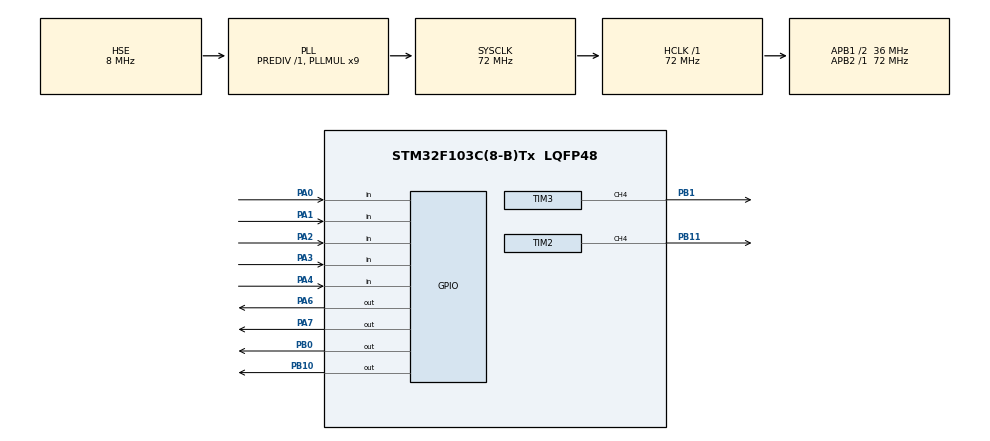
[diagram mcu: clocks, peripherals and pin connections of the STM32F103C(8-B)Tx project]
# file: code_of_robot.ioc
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Mcu.Family=STM32F1
Mcu.Name=STM32F103C(8-B)Tx
Mcu.Package=LQFP48
NVIC.PriorityGroup=NVIC_PRIORITYGROUP_4
PA0-WKUP.Signal=GPIO_Input
PA1.Signal=GPIO_Input
PA13.Mode=Serial_Wire
PA13.Signal=SYS_JTMS-SWDIO
PA14.Mode=Serial_Wire
PA14.Signal=SYS_JTCK-SWCLK
PA2.Signal=GPIO_Input
PA3.Signal=GPIO_Input
PA4.Signal=GPIO_Input
PA6.Signal=GPIO_Output
PA7.Signal=GPIO_Output
PB0.Signal=GPIO_Output
PB1.Signal=S_TIM3_CH4
PB10.Signal=GPIO_Output
PB11.Signal=S_TIM2_CH4
PD0-OSC_IN.Mode=HSE-External-Oscillator
PD0-OSC_IN.Signal=RCC_OSC_IN
PD1-OSC_OUT.Mode=HSE-External-Oscillator
PD1-OSC_OUT.Signal=RCC_OSC_OUT
ProjectManager.HeapSize=0x200
ProjectManager.StackSize=0x400
ProjectManager.TargetToolchain=STM32CubeIDE
RCC.AHBFreq_Value=72000000
RCC.APB1CLKDivider=RCC_HCLK_DIV2
RCC.APB1Freq_Value=36000000
RCC.APB1TimFreq_Value=72000000
RCC.APB2Freq_Value=72000000
RCC.APB2TimFreq_Value=72000000
RCC.HCLKFreq_Value=72000000
RCC.PLLMUL=RCC_PLL_MUL9
RCC.PLLSourceVirtual=RCC_PLLSOURCE_HSE
RCC.SYSCLKFreq_VALUE=72000000
RCC.SYSCLKSource=RCC_SYSCLKSOURCE_PLLCLK
RCC.USBFreq_Value=72000000
SH.S_TIM2_CH4.0=TIM2_CH4,PWM Generation4 CH4
SH.S_TIM3_CH4.0=TIM3_CH4,PWM Generation4 CH4
TIM2.AutoReloadPreload=TIM_AUTORELOAD_PRELOAD_ENABLE
TIM2.Channel-PWM\ Generation4\ CH4=TIM_CHANNEL_4
TIM2.Period=999
TIM2.Prescaler=79
TIM3.AutoReloadPreload=TIM_AUTORELOAD_PRELOAD_ENABLE
TIM3.Channel-PWM\ Generation4\ CH4=TIM_CHANNEL_4
TIM3.Period=999
TIM3.Prescaler=79
board=custom

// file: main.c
/* USER CODE BEGIN Header */
/**
  ******************************************************************************
  * @file           : main.c
  * @brief          : Main program body
  ******************************************************************************
  * @attention
  *
  * Copyright (c) 2022 STMicroelectronics.
  * All rights reserved.
  *
  * This software is licensed under terms that can be found in the LICENSE file
  * in the root directory of this software component.
  * If no LICENSE file comes with this software, it is provided AS-IS.
  *
  ******************************************************************************
  */
/* USER CODE END Header */
#include "main.h"

/* USER CODE BEGIN Includes */
#include "string.h"
/* USER CODE END Includes */

/* USER CODE BEGIN PTD */
#define max 50
#define e_max 1000
/* USER CODE END PTD */

 TIM_HandleTypeDef htim2;
TIM_HandleTypeDef htim3;

/* USER CODE BEGIN PV */
int  des_dev, cur_dev;                                //variables for error, set-point and process variable
int ARR =10;
float kp = 10 , ki = 0, kd = 4;                     //PID constants
/*float Kp = 5;                                       //set up the constants value
float Ki = 0.001;
float Kd = 0.5;
int P, I, D; */
int i, j, m, n, k;
int speed = 40;                                    //base speed for motor PWM
//int lastError = 0;
unsigned int sensor[5],h[5];                        // an array to hold sensor values
//const uint8_t basespeed = 40;
//const uint8_t maxspeed = 100;
//unsigned char found_left=0;
//unsigned char found_straight=0;
//unsigned char found_right=0;
int sensor_weight[] = {-4 , -2 , 0 , 2 , 4};
int error,Error;                                    //variables for error, set-point and process variable
int result;                       //variables for error, set-point and process variable
int c=0, maze_solved=0,temp=0, mode=0;
int e_sum=0, e_diff=0, e_old=0, pid_out;
char path[100];  //array for storing path data of dry run
int pathLength=0;
//char line_maze = "", solve_maze = ""; // Memory string

/* USER CODE END PV */

void SystemClock_Config(void);
static void MX_GPIO_Init(void);
static void MX_TIM2_Init(void);
static void MX_TIM3_Init(void);
/* USER CODE BEGIN PFP */
//int read_sensor();
//float PID_control(float err);
int readSensor();           //for taking sensor input
float err_calc();           //for calculating error value
float pid(float);           //returns PID correction output
void motorPIDcontrol(int base);
void Read_Path();
void Save_Path(char state);  //saves dry run data
void Make_Decession(char Incoming_Command);
float PID_control(float err);
/* USER CODE END PFP */

/* USER CODE BEGIN 0 */

/*-----------------------------------------------------------Forward-------------------------------------------------------*/
void Forward(double PWM_L,double PWM_R)
{
	__HAL_TIM_SET_COMPARE(&htim3, TIM_CHANNEL_4, ARR*PWM_L);     //Left
	HAL_GPIO_WritePin(GPIOB, GPIO_PIN_0, GPIO_PIN_RESET);
	HAL_GPIO_WritePin(GPIOB, GPIO_PIN_10, GPIO_PIN_SET);

	__HAL_TIM_SET_COMPARE(&htim2, TIM_CHANNEL_4, ARR*PWM_R);     //Right
	HAL_GPIO_WritePin(GPIOA, GPIO_PIN_6, GPIO_PIN_RESET);
	HAL_GPIO_WritePin(GPIOA, GPIO_PIN_7, GPIO_PIN_SET);

}
/*-----------------------------------------------------------Backward-------------------------------------------------------*/
void Backward(double PWM_L,double PWM_R)
{
	__HAL_TIM_SET_COMPARE(&htim3, TIM_CHANNEL_4, ARR*PWM_L);      //Left  A_EN
	HAL_GPIO_WritePin(GPIOB, GPIO_PIN_0, GPIO_PIN_SET);
	HAL_GPIO_WritePin(GPIOB, GPIO_PIN_10, GPIO_PIN_RESET);

	__HAL_TIM_SET_COMPARE(&htim2, TIM_CHANNEL_4, ARR*PWM_R);      //Right B_EN
	HAL_GPIO_WritePin(GPIOA, GPIO_PIN_6, GPIO_PIN_SET);
	HAL_GPIO_WritePin(GPIOA, GPIO_PIN_7, GPIO_PIN_RESET);
}
/*---------------------------------------------------------------stop--------------------------------------------------------------*/
void stop()
{
	__HAL_TIM_SET_COMPARE(&htim3, TIM_CHANNEL_4, 0); // A_EN
	HAL_GPIO_WritePin(GPIOB, GPIO_PIN_10 | GPIO_PIN_0, GPIO_PIN_RESET);

	__HAL_TIM_SET_COMPARE(&htim2, TIM_CHANNEL_4, 0); // B_EN
	HAL_GPIO_WritePin(GPIOA, GPIO_PIN_6 | GPIO_PIN_7, GPIO_PIN_RESET);
}
/*-------------------------------------------------------------------Turn_Right------------------------------------------------------------*/
void Turn_Left(double PWM_L,double PWM_R)
{
	__HAL_TIM_SET_COMPARE(&htim3, TIM_CHANNEL_4, ARR*PWM_L);      //Left  A_EN
	HAL_GPIO_WritePin(GPIOB, GPIO_PIN_0, GPIO_PIN_RESET);
	HAL_GPIO_WritePin(GPIOB, GPIO_PIN_10, GPIO_PIN_SET);

	__HAL_TIM_SET_COMPARE(&htim2, TIM_CHANNEL_4, ARR*PWM_R);      //Right B_EN
	HAL_GPIO_WritePin(GPIOA, GPIO_PIN_6, GPIO_PIN_SET);
	HAL_GPIO_WritePin(GPIOA, GPIO_PIN_7, GPIO_PIN_RESET);

}
/*-------------------------------------------------------------------Turn_Left----------------------------------------------------------*/
void Turn_Right(double PWM_L,double PWM_R)
{
	__HAL_TIM_SET_COMPARE(&htim3, TIM_CHANNEL_4, ARR*PWM_L);     //Left
	HAL_GPIO_WritePin(GPIOB, GPIO_PIN_0, GPIO_PIN_SET);
	HAL_GPIO_WritePin(GPIOB, GPIO_PIN_10, GPIO_PIN_RESET);

	__HAL_TIM_SET_COMPARE(&htim2, TIM_CHANNEL_4, ARR*PWM_R);     //Right
	HAL_GPIO_WritePin(GPIOA, GPIO_PIN_6, GPIO_PIN_RESET);
	HAL_GPIO_WritePin(GPIOA, GPIO_PIN_7, GPIO_PIN_SET);

}
/*-----------------------------------------------*******----**----runExtraInch--------------------------------------------------------*/
void runExtraInch() //running few steps for alignment and node identification
{
	Forward(40,40);          //OCR1A = 500;  	OCR1B = 500;
	HAL_Delay(150);         //_delay_ms(330);
	stop();
	HAL_Delay(800);
}
/*-------------------------------------------------------------------------------------------------------------*/
/* USER CODE END 0 */

int main(void)
{

  /* MCU Configuration--------------------------------------------------------*/

  /* Reset of all peripherals, Initializes the Flash interface and the Systick. */
  HAL_Init();

  /* Configure the system clock */
  SystemClock_Config();

  /* Initialize all configured peripherals */
  MX_GPIO_Init();
  MX_TIM2_Init();
  MX_TIM3_Init();
  /* USER CODE BEGIN 2 */
  HAL_TIM_Base_Start(&htim3);
  HAL_TIM_Base_Start(&htim2);
  HAL_TIM_PWM_Start(&htim3,TIM_CHANNEL_4);                       //starts the PMW
  HAL_TIM_PWM_Start(&htim2,TIM_CHANNEL_4);
  /* USER CODE END 2 */

  /* Infinite loop */
  while (1)
  {

    /* USER CODE BEGIN 3 */
	  /*-----------------------------------*/
	         // Turn_Right(0,60);    Turn_Left(60,0);
	  //Read_Path();
       mode = readSensor();
		 switch(mode)
		 {
		  case 27:   //11011  [ cases for straight and curved path following ]
		  case 29:   //11101
		  case 23:   //10111
		  case 25:   //11001
		  case 19:   //10011
		  case 17:   //10001
			  motorPIDcontrol(speed);
			 // Forward(50,50);
			  break;
		  case 31:                                //11111
			  stop();
			  break;
	/*		 case 30:                             //11110  [ cases for a right turn or straight ]
				  stop();
				  HAL_Delay(500);
				  Turn_Right(0,50);
			  	  HAL_Delay(1400);
			  	  break;
			  case 15:                             //01111  [cases for left turn]
				  stop();
				  HAL_Delay(500);
				  Turn_Left(50,0);
				  HAL_Delay(1400);
				 break;*/
		 default:                                //for any other case straight and curved path following
			 motorPIDcontrol(speed);

		 }
  }
  /* USER CODE END 3 */
}

void SystemClock_Config(void)
{
  RCC_OscInitTypeDef RCC_OscInitStruct = {0};
  RCC_ClkInitTypeDef RCC_ClkInitStruct = {0};

  /** Initializes the RCC Oscillators according to the specified parameters
  * in the RCC_OscInitTypeDef structure.
  */
  RCC_OscInitStruct.OscillatorType = RCC_OSCILLATORTYPE_HSE;
  RCC_OscInitStruct.HSEState = RCC_HSE_ON;
  RCC_OscInitStruct.HSEPredivValue = RCC_HSE_PREDIV_DIV1;
  RCC_OscInitStruct.HSIState = RCC_HSI_ON;
  RCC_OscInitStruct.PLL.PLLState = RCC_PLL_ON;
  RCC_OscInitStruct.PLL.PLLSource = RCC_PLLSOURCE_HSE;
  RCC_OscInitStruct.PLL.PLLMUL = RCC_PLL_MUL9;
  if (HAL_RCC_OscConfig(&RCC_OscInitStruct) != HAL_OK)
  {
    Error_Handler();
  }

  /** Initializes the CPU, AHB and APB buses clocks
  */
  RCC_ClkInitStruct.ClockType = RCC_CLOCKTYPE_HCLK|RCC_CLOCKTYPE_SYSCLK
                              |RCC_CLOCKTYPE_PCLK1|RCC_CLOCKTYPE_PCLK2;
  RCC_ClkInitStruct.SYSCLKSource = RCC_SYSCLKSOURCE_PLLCLK;
  RCC_ClkInitStruct.AHBCLKDivider = RCC_SYSCLK_DIV1;
  RCC_ClkInitStruct.APB1CLKDivider = RCC_HCLK_DIV2;
  RCC_ClkInitStruct.APB2CLKDivider = RCC_HCLK_DIV1;

  if (HAL_RCC_ClockConfig(&RCC_ClkInitStruct, FLASH_LATENCY_2) != HAL_OK)
  {
    Error_Handler();
  }
}

static void MX_TIM2_Init(void)
{

  TIM_MasterConfigTypeDef sMasterConfig = {0};
  TIM_OC_InitTypeDef sConfigOC = {0};

  htim2.Instance = TIM2;
  htim2.Init.Prescaler = 79;
  htim2.Init.CounterMode = TIM_COUNTERMODE_UP;
  htim2.Init.Period = 999;
  htim2.Init.ClockDivision = TIM_CLOCKDIVISION_DIV1;
  htim2.Init.AutoReloadPreload = TIM_AUTORELOAD_PRELOAD_ENABLE;
  if (HAL_TIM_PWM_Init(&htim2) != HAL_OK)
  {
    Error_Handler();
  }
  sMasterConfig.MasterOutputTrigger = TIM_TRGO_RESET;
  sMasterConfig.MasterSlaveMode = TIM_MASTERSLAVEMODE_DISABLE;
  if (HAL_TIMEx_MasterConfigSynchronization(&htim2, &sMasterConfig) != HAL_OK)
  {
    Error_Handler();
  }
  sConfigOC.OCMode = TIM_OCMODE_PWM1;
  sConfigOC.Pulse = 0;
  sConfigOC.OCPolarity = TIM_OCPOLARITY_HIGH;
  sConfigOC.OCFastMode = TIM_OCFAST_DISABLE;
  if (HAL_TIM_PWM_ConfigChannel(&htim2, &sConfigOC, TIM_CHANNEL_4) != HAL_OK)
  {
    Error_Handler();
  }
  HAL_TIM_MspPostInit(&htim2);

}

static void MX_TIM3_Init(void)
{

  TIM_MasterConfigTypeDef sMasterConfig = {0};
  TIM_OC_InitTypeDef sConfigOC = {0};

  htim3.Instance = TIM3;
  htim3.Init.Prescaler = 79;
  htim3.Init.CounterMode = TIM_COUNTERMODE_UP;
  htim3.Init.Period = 999;
  htim3.Init.ClockDivision = TIM_CLOCKDIVISION_DIV1;
  htim3.Init.AutoReloadPreload = TIM_AUTORELOAD_PRELOAD_ENABLE;
  if (HAL_TIM_PWM_Init(&htim3) != HAL_OK)
  {
    Error_Handler();
  }
  sMasterConfig.MasterOutputTrigger = TIM_TRGO_RESET;
  sMasterConfig.MasterSlaveMode = TIM_MASTERSLAVEMODE_DISABLE;
  if (HAL_TIMEx_MasterConfigSynchronization(&htim3, &sMasterConfig) != HAL_OK)
  {
    Error_Handler();
  }
  sConfigOC.OCMode = TIM_OCMODE_PWM1;
  sConfigOC.Pulse = 0;
  sConfigOC.OCPolarity = TIM_OCPOLARITY_HIGH;
  sConfigOC.OCFastMode = TIM_OCFAST_DISABLE;
  if (HAL_TIM_PWM_ConfigChannel(&htim3, &sConfigOC, TIM_CHANNEL_4) != HAL_OK)
  {
    Error_Handler();
  }
  HAL_TIM_MspPostInit(&htim3);

}

static void MX_GPIO_Init(void)
{
  GPIO_InitTypeDef GPIO_InitStruct = {0};

  /* GPIO Ports Clock Enable */
  __HAL_RCC_GPIOD_CLK_ENABLE();
  __HAL_RCC_GPIOA_CLK_ENABLE();
  __HAL_RCC_GPIOB_CLK_ENABLE();

  /*Configure GPIO pin Output Level */
  HAL_GPIO_WritePin(GPIOA, GPIO_PIN_6|GPIO_PIN_7, GPIO_PIN_RESET);

  /*Configure GPIO pin Output Level */
  HAL_GPIO_WritePin(GPIOB, GPIO_PIN_0|GPIO_PIN_10, GPIO_PIN_RESET);

  /*Configure GPIO pins : PA0 PA1 PA2 PA3
                           PA4 */
  GPIO_InitStruct.Pin = GPIO_PIN_0|GPIO_PIN_1|GPIO_PIN_2|GPIO_PIN_3
                          |GPIO_PIN_4;
  GPIO_InitStruct.Mode = GPIO_MODE_INPUT;
  GPIO_InitStruct.Pull = GPIO_NOPULL;
  HAL_GPIO_Init(GPIOA, &GPIO_InitStruct);

  /*Configure GPIO pins : PA6 PA7 */
  GPIO_InitStruct.Pin = GPIO_PIN_6|GPIO_PIN_7;
  GPIO_InitStruct.Mode = GPIO_MODE_OUTPUT_PP;
  GPIO_InitStruct.Pull = GPIO_NOPULL;
  GPIO_InitStruct.Speed = GPIO_SPEED_FREQ_LOW;
  HAL_GPIO_Init(GPIOA, &GPIO_InitStruct);

  /*Configure GPIO pins : PB0 PB10 */
  GPIO_InitStruct.Pin = GPIO_PIN_0|GPIO_PIN_10;
  GPIO_InitStruct.Mode = GPIO_MODE_OUTPUT_PP;
  GPIO_InitStruct.Pull = GPIO_NOPULL;
  GPIO_InitStruct.Speed = GPIO_SPEED_FREQ_LOW;
  HAL_GPIO_Init(GPIOB, &GPIO_InitStruct);

}

/* USER CODE BEGIN 4 */

/*--------------------------------------------------------------readSensor--------------------------------------------------------*/
int readSensor()
{
	sensor[0]= HAL_GPIO_ReadPin(GPIOA,GPIO_PIN_0);
	sensor[1]= HAL_GPIO_ReadPin(GPIOA,GPIO_PIN_1);
	sensor[2]= HAL_GPIO_ReadPin(GPIOA,GPIO_PIN_2);
	sensor[3]= HAL_GPIO_ReadPin(GPIOA,GPIO_PIN_3);
	sensor[4]= HAL_GPIO_ReadPin(GPIOA,GPIO_PIN_4);

	k =0;
	for(  i=0;i<5;i++){
k= sensor[0]*16+sensor[1]*8+sensor[2]*4+sensor[3]*2+sensor[4]*1;

	}
	return(k);
}
/*--------------------------------------------------------------err_calc---------------------------------------------------------*/
 float err_calc()
{
	 cur_dev=0;
	//Error = 0;
	des_dev =0;
	h[5] = 0;
	m=0;
	for(i=1;i<4;i++)
	{
		if(sensor[i]==0)
		{
			h[i]=1;
		}
		else
		{
			h[i]=0;
			m++;
		}
		cur_dev += h[i] * sensor_weight[i];     //cur_dev stores deviation value //Error
	}
		if(m==0)
		{
			m=1;
		}
		cur_dev = (cur_dev / m);    //*1000;
		error =des_dev - cur_dev;
		return error;
}
 /*-------------------------------------------------------------PID_control------------------------------------------------------*/
 float PID_control(float err)
 {
	   e_diff = err - e_old;
 	    int PID = (kp * err) + (kd * e_diff) ;
 	   e_old = err;
 		/* if(PID > max)       //condition for keeping the pid output within the limits of the base value of motor rpm
 		 {
 			PID = max;
 		 }
 		 else if (PID < -max)
 		 {
 			PID = -max;
 		 }*/
 	   return PID;
 }
 /*---------------------------------------------------------pid---------------------------------------------------------------*/
 float pid(float err)
{
	 e_sum += err;
	 e_diff = err - e_old;

	 if (e_sum > e_max)        //condition for keeping the integral of error over a period of time within a limit
	 {
		 e_sum = e_max;
	 }
	 else if (e_sum < -e_max)
	 {
		 e_sum = -e_max;
	 }

	 pid_out = (kp * err) + (ki * e_sum) + (kd * e_diff);
	 e_old = err;

	 if(pid_out > max)       //condition for keeping the pid output within the limits of the base value of motor rpm
	 {
		 pid_out = max;
	 }
	 else if (pid_out < -max)
	 {
		 pid_out = -max;
	 }
	 return pid_out;
}
/*-----------------------------------------------------motorPIDcontrol----------------------------------------------------------*/
 void motorPIDcontrol(int base)
 {
       //Forward( base - (pid(err_calc())), base + (pid(err_calc())));
	 Forward( base + (PID_control(err_calc())), base - (PID_control(err_calc())));
 }
/*------------------------------------------------------Read_Path--------------------------------------------------------------*/
 void Read_Path()
 {
	 while(!maze_solved)  //condition for Read Path
	 {
		 mode = readSensor();
		 switch(mode)
		 {
		 case 00:    //00000 all black
			 stop();
			 runExtraInch();
			 temp = 0;
			 temp = readSensor();
			 if(temp == 0) //all black in next step then end of maze
			 {
				// mazeEnd();
			 }
			 else //any case in next step after all black - left turn
			 {
				 Turn_Left(0,40);
				 HAL_Delay(110);
				 Save_Path('L');          //value ‘L’ saved for left turn
			 }
			 break;

		 case 31:                       //11111 [ all white - end of line so U-turn ]
			 stop();
			 HAL_Delay(100);
			 Backward(40,40);          //right motor set for reverse rotation for U-turning
			 HAL_Delay(180);
			 Save_Path('U');           //value ‘U’ saved for U-turn
			 break;

		  case 27:   //11011  [ cases for straight and curved path following ]
		  case 25:   //11001
		  case 19:   //10011
		  case 17:   //10001
		  case 29:   //11101
		  case 23:   //10111
			  Forward(40,40);
			  //motorPIDcontrol(speed);
			 break;

		  case 30:   //11110  [ cases for a right turn or straight ]
		  case 28:   //11100
			  stop();
			  runExtraInch();
			  temp = 0;
			  temp = readSensor();
			  if(temp == 31)            //case for a right turn
			  {
				  Turn_Right(40,0);
				  HAL_Delay(110);
				  Save_Path('R');       //value ‘R’ saved for right turn
			  }
			  else        //case for straight
			  {
				  Forward(40,40);
				  //motorPIDcontrol(speed);
				  Save_Path('S');       //value ‘S’ saved for straight
			  }
			 break;

		  case 15:   //01111  [cases for left turn]
		  case 7:   //00111
			  stop();
			  runExtraInch();
			  Turn_Left(0,40);
			  HAL_Delay(110);
			  Save_Path('L');     //value ‘L’ saved for left turn
			 break;

		 default: //for any other case straight and curved path following
			 Forward(40,40);
			 //motorPIDcontrol(speed);
		 }
	 }
 }
/*-----------------------------------------------------------Save_Path----------------------------------------------------------*/
 void Save_Path(char state)
 {
	 path[pathLength] = state;
	 pathLength++;
	 HAL_Delay(1);

 }

void Make_Decession(char Incoming_Command)
{
  switch (Incoming_Command) {
    case 'S':
    	motorPIDcontrol(speed); //Go_one_step();
      break;

    case 'R':
      //GO_RIGHT();
      break;

    case 'L':
      //GO_LEFT();
      break;

    case 'O':
      //Finish_Point();
      break;
  }
}
/*------------------------------------------------------------------------------------------------------------------------*/
//FOLLOW_THE_RULES()

/* USER CODE END 4 */

void Error_Handler(void)
{
  __disable_irq();
  while (1)
  {
  }
}
